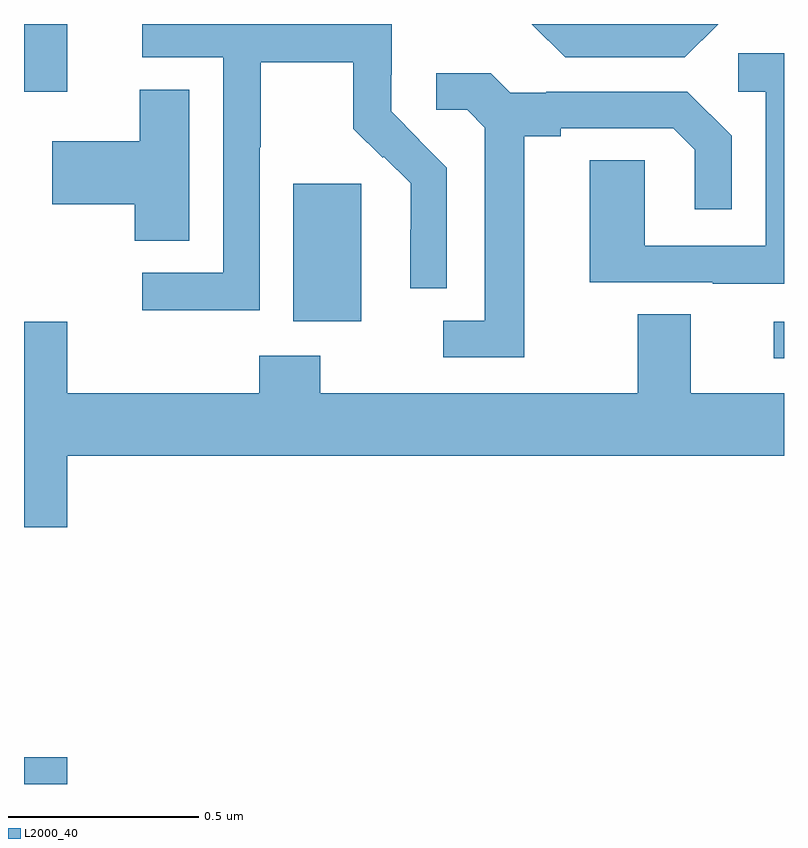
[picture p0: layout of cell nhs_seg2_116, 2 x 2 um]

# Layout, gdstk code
import gdstk
lib = gdstk.Library(unit=1e-6, precision=1e-09)
def R(c, l, rs):  # rectangles x0, y0, x1, y1
    for r in rs: c.add(gdstk.rectangle(r[:2], r[2:], *l))
def P(c, l, *ps):  # polygons
    for p in ps: c.add(gdstk.Polygon(p, *l))
L2000_40 = (2000, 40)

nhs_seg2_116 = lib.new_cell('nhs_seg2_116')
R(nhs_seg2_116, L2000_40, [(112,618.8,112.114,618.871), (113.973,619.92,114,620.016), (112.709,620.018,112.888,620.379), (112,620.622,112.114,620.8)])
P(nhs_seg2_116, L2000_40, [(113.827,620.8),(113.336,620.8),(113.424,620.712),(113.739,620.712)],
  [(112.62,620.476),(112.623,620.476),(112.623,620.7),(112.867,620.7),(112.867,620.525),(112.944,620.448),(112.947,620.451),(113.018,620.381),(113.018,620.258),(113.016,620.258),(113.016,620.104),(113.112,620.104),(113.112,620.422),(113.039,620.495),(113.04,620.496),(112.966,620.57),(112.966,620.667),(112.968,620.667),(112.968,620.8),(112.311,620.8),(112.311,620.712),(112.524,620.712),(112.524,620.145),(112.311,620.145),(112.311,620.047),(112.62,620.047)],
  [(114,620.723),(113.88,620.723),(113.88,620.622),(113.952,620.622),(113.952,620.217),(113.634,620.217),(113.634,620.441),(113.489,620.441),(113.489,620.121),(113.813,620.121),(113.813,620.117),(114,620.117)],
  [(113.317,620.504),(113.413,620.504),(113.413,620.526),(113.708,620.526),(113.765,620.469),(113.765,620.313),(113.862,620.313),(113.862,620.506),(113.746,620.622),(113.374,620.622),(113.374,620.619),(113.28,620.619),(113.228,620.671),(113.085,620.671),(113.085,620.574),(113.166,620.574),(113.213,620.527),(113.213,620.019),(113.103,620.019),(113.103,619.923),(113.317,619.923)],
  [(112.435,620.627),(112.304,620.627),(112.304,620.491),(112.074,620.491),(112.074,620.326),(112.292,620.326),(112.292,620.23),(112.435,620.23)],
  [(112.114,619.664),(114,619.664),(114,619.828),(113.755,619.828),(113.755,620.036),(113.615,620.036),(113.615,619.828),(112.779,619.828),(112.779,619.927),(112.619,619.927),(112.619,619.828),(112.114,619.828),(112.114,620.017),(112,620.017),(112,619.476),(112.114,619.476)])

lib.write_gds('nhs_seg2_116.gds')
